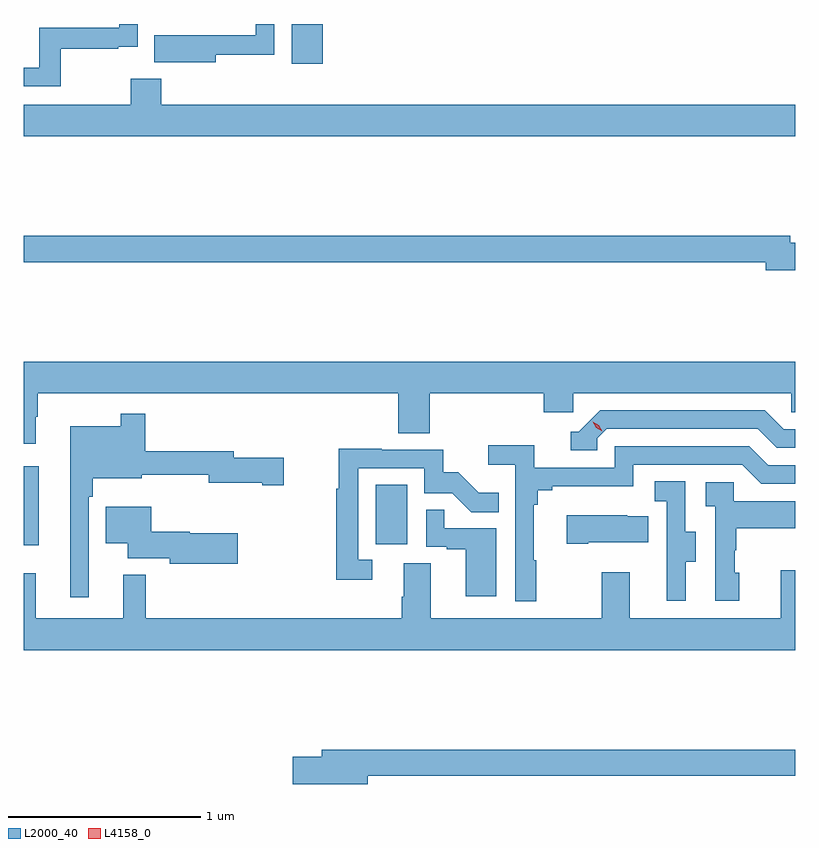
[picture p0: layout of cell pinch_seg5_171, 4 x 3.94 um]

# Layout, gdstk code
import gdstk
lib = gdstk.Library(unit=1e-6, precision=1e-09)
def R(c, l, rs):  # rectangles x0, y0, x1, y1
    for r in rs: c.add(gdstk.rectangle(r[:2], r[2:], *l))
def P(c, l, *ps):  # polygons
    for p in ps: c.add(gdstk.Polygon(p, *l))
L2000_40 = (2000, 40)
L4158_0 = (4158, 0)

pinch_seg5_171 = lib.new_cell('pinch_seg5_171')
R(pinch_seg5_171, L2000_40, [(1117.208,891.935,1117.285,892.345), (1119.032,891.942,1119.196,892.249), (1118.597,894.432,1118.758,894.638)])
P(pinch_seg5_171, L2000_40, [(1117.399,894.51),(1117.697,894.51),(1117.697,894.521),(1117.8,894.521),(1117.8,894.638),(1117.704,894.638),(1117.704,894.618),(1117.288,894.618),(1117.288,894.412),(1117.208,894.412),(1117.208,894.315),(1117.399,894.315)],
  [(1118.203,894.478),(1118.508,894.478),(1118.508,894.638),(1118.412,894.638),(1118.412,894.579),(1118.099,894.579),(1118.099,894.58),(1117.885,894.58),(1117.885,894.44),(1118.203,894.44)],
  [(1121.208,894.22),(1117.922,894.22),(1117.922,894.355),(1117.762,894.355),(1117.762,894.22),(1117.208,894.22),(1117.208,894.056),(1121.208,894.056)],
  [(1121.208,893.504),(1121.182,893.504),(1121.182,893.54),(1117.208,893.54),(1117.208,893.404),(1121.054,893.404),(1121.054,893.362),(1121.208,893.362)],
  [(1117.27,892.601),(1117.282,892.601),(1117.282,892.724),(1119.149,892.724),(1119.149,892.516),(1119.314,892.516),(1119.314,892.724),(1119.905,892.724),(1119.905,892.626),(1120.056,892.626),(1120.056,892.724),(1121.187,892.724),(1121.187,892.626),(1121.208,892.626),(1121.208,892.888),(1117.208,892.888),(1117.208,892.461),(1117.27,892.461)],
  [(1120.182,892.491),(1120.23,892.539),(1121.013,892.539),(1121.112,892.44),(1121.208,892.44),(1121.208,892.536),(1121.149,892.536),(1121.05,892.635),(1120.197,892.635),(1120.086,892.524),(1120.043,892.524),(1120.043,892.428),(1120.182,892.428)],
  [(1117.545,892.187),(1117.565,892.187),(1117.565,892.283),(1117.819,892.283),(1117.819,892.302),(1118.168,892.302),(1118.168,892.259),(1118.444,892.259),(1118.444,892.247),(1118.557,892.247),(1118.557,892.389),(1118.296,892.389),(1118.296,892.423),(1117.838,892.423),(1117.838,892.618),(1117.71,892.618),(1117.71,892.552),(1117.448,892.552),(1117.448,891.666),(1117.545,891.666)],
  [(1119.865,891.857),(1119.853,891.857),(1119.853,892.145),(1119.872,892.145),(1119.872,892.222),(1119.949,892.222),(1119.949,892.241),(1120.368,892.241),(1120.368,892.353),(1120.932,892.353),(1121.031,892.254),(1121.208,892.254),(1121.208,892.35),(1121.068,892.35),(1120.969,892.449),(1120.272,892.449),(1120.272,892.338),(1119.854,892.338),(1119.854,892.454),(1119.615,892.454),(1119.615,892.352),(1119.756,892.352),(1119.756,891.645),(1119.865,891.645)],
  [(1119.016,891.861),(1118.943,891.861),(1118.943,892.335),(1119.285,892.335),(1119.285,892.206),(1119.429,892.206),(1119.527,892.108),(1119.671,892.108),(1119.671,892.207),(1119.567,892.207),(1119.46,892.314),(1119.384,892.314),(1119.384,892.431),(1119.065,892.431),(1119.065,892.436),(1118.842,892.436),(1118.842,892.228),(1118.827,892.228),(1118.827,891.756),(1119.016,891.756)],
  [(1120.639,891.85),(1120.693,891.85),(1120.693,892.005),(1120.638,892.005),(1120.638,892.268),(1120.479,892.268),(1120.479,892.165),(1120.542,892.165),(1120.542,891.861),(1120.541,891.861),(1120.541,891.648),(1120.639,891.648)],
  [(1120.918,891.792),(1120.893,891.792),(1120.893,891.911),(1120.903,891.911),(1120.903,892.025),(1121.208,892.025),(1121.208,892.165),(1120.89,892.165),(1120.89,892.263),(1120.743,892.263),(1120.743,892.139),(1120.794,892.139),(1120.794,891.648),(1120.918,891.648)],
  [(1118.317,891.997),(1118.068,891.997),(1118.068,892.005),(1117.87,892.005),(1117.87,892.135),(1117.634,892.135),(1117.634,891.947),(1117.748,891.947),(1117.748,891.869),(1117.964,891.869),(1117.964,891.839),(1118.317,891.839)],
  [(1119.658,892.023),(1119.389,892.023),(1119.389,892.121),(1119.294,892.121),(1119.294,891.927),(1119.401,891.927),(1119.401,891.915),(1119.5,891.915),(1119.5,891.672),(1119.658,891.672)],
  [(1120.135,891.95),(1120.445,891.95),(1120.445,892.087),(1120.337,892.087),(1120.337,892.09),(1120.023,892.09),(1120.023,891.943),(1120.135,891.943)],
  [(1121.208,891.805),(1121.132,891.805),(1121.132,891.556),(1120.351,891.556),(1120.351,891.796),(1120.204,891.796),(1120.204,891.556),(1119.319,891.556),(1119.319,891.842),(1119.179,891.842),(1119.179,891.668),(1119.167,891.668),(1119.167,891.556),(1117.841,891.556),(1117.841,891.784),(1117.724,891.784),(1117.724,891.556),(1117.271,891.556),(1117.271,891.79),(1117.208,891.79),(1117.208,891.392),(1121.208,891.392)],
  [(1118.992,890.74),(1121.208,890.74),(1121.208,890.876),(1118.753,890.876),(1118.753,890.84),(1118.604,890.84),(1118.604,890.698),(1118.992,890.698)])
P(pinch_seg5_171, L4158_0, [(1120.207,892.526),(1120.175,892.544),(1120.158,892.577),(1120.158,892.577),(1120.159,892.577),(1120.19,892.558),(1120.207,892.526),(1120.207,892.526)])

lib.write_gds('pinch_seg5_171.gds')
